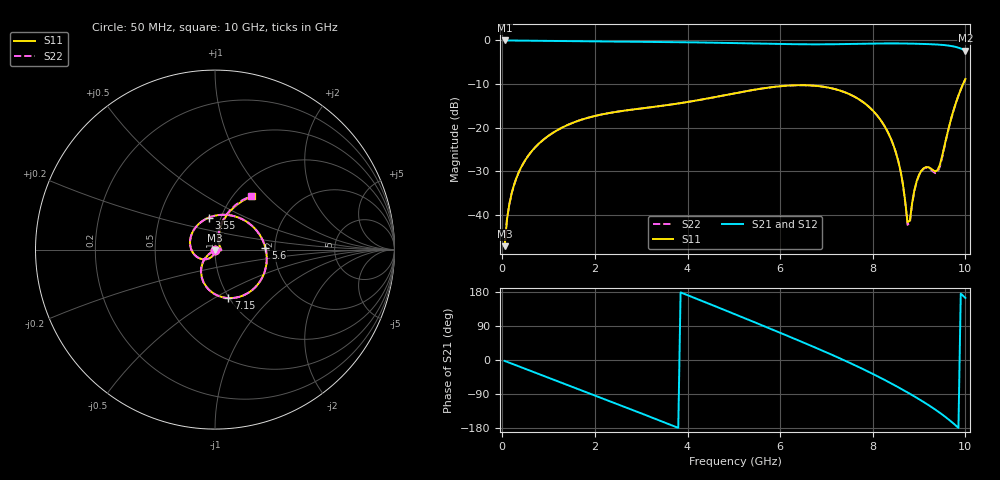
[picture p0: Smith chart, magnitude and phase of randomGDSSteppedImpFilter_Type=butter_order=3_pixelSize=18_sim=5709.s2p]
! freq	dB(S11)	phase(S11)	dB(S12)	phase(S12)
!  dB(S21)	phase(S21)	dB(S22)	phase(S22)
!S-par simulation data
#  GHz  S  DB  R 50
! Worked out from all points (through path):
!   200 points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, 50 MHz to 10 GHz, reference 50 ohm
!   highest |S21| = 0.00 dB at 50 MHz (marker M1); lowest = -2.3 dB at 10 GHz (marker M2)
!   group delay of S21, straight-line fit = 145 ps
!   lowest |S11| = -47.1 dB at 50 MHz (marker M3), VSWR 1.01, Z = 50 - j0.44 ohm
!   |S11| at or under -10 dB: start of sweep to 9.949 GHz
!   |S22| runs from -47.1 to -8.9 dB; largest |S21 - S12| = 0
!   S11 on the Smith chart (normalised r, x): 50 MHz: 1.00, -0.01; 3.55 GHz: 0.88, +0.32; 5.6 GHz: 1.78, +0.04; 7.15 GHz: 0.99, -0.58; 10 GHz: 1.21, +0.83
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0.05  -47.13 -89.0  -0.00 -2.4  -0.00 -2.4  -47.13 -89.0
0.2  -35.13 -99.0  -0.02 -9.4  -0.02 -9.4  -35.13 -99.0
0.5  -27.35 -114.1  -0.04 -23.5  -0.04 -23.5  -27.35 -114.1
1.15  -20.79 -144.9  -0.10 -53.9  -0.10 -53.9  -20.79 -144.9
1.75  -18.02 -173.4  -0.16 -81.9  -0.16 -81.9  -18.02 -173.4
2.5  -16.30 151.1  -0.24 -117.1  -0.24 -117.1  -16.30 151.1
3.4  -15.04 108.5  -0.34 -159.9  -0.34 -159.9  -15.04 108.4
3.55  -14.83 101.3  -0.36 -167.1  -0.36 -167.1  -14.83 101.2
4.25  -13.65 67.6  -0.46 158.9  -0.46 158.9  -13.65 67.5
5.05  -12.04 28.8  -0.61 119.5  -0.61 119.5  -12.04 28.7
5.6  -11.03 2.1  -0.73 92.0  -0.73 92.0  -11.03 1.9
6.7  -10.34 -51.9  -0.89 35.9  -0.89 35.9  -10.34 -52.2
7.15  -11.06 -74.6  -0.87 12.0  -0.87 12.0  -11.06 -74.9
7.75  -13.82 -105.7  -0.76 -21.7  -0.76 -21.7  -13.82 -106.2
8.35  -21.55 -136.2  -0.68 -58.6  -0.68 -58.6  -21.56 -137.1
8.55  -27.59 -142.2  -0.68 -71.8  -0.68 -71.8  -27.62 -143.6
8.75  -41.66 -99.6  -0.71 -85.5  -0.71 -85.5  -42.23 -102.3
8.8  -41.32 -45.7  -0.72 -89.0  -0.72 -89.0  -41.86 -44.6
9  -30.79 -7.7  -0.77 -103.5  -0.77 -103.5  -30.88 -7.7
9.4  -29.71 34.9  -0.94 -135.1  -0.94 -135.1  -30.17 35.2
9.55  -24.08 71.0  -1.07 -148.5  -1.07 -148.5  -24.29 72.9
10  -8.84 55.3  -2.33 163.7  -2.33 163.7  -8.85 56.1
